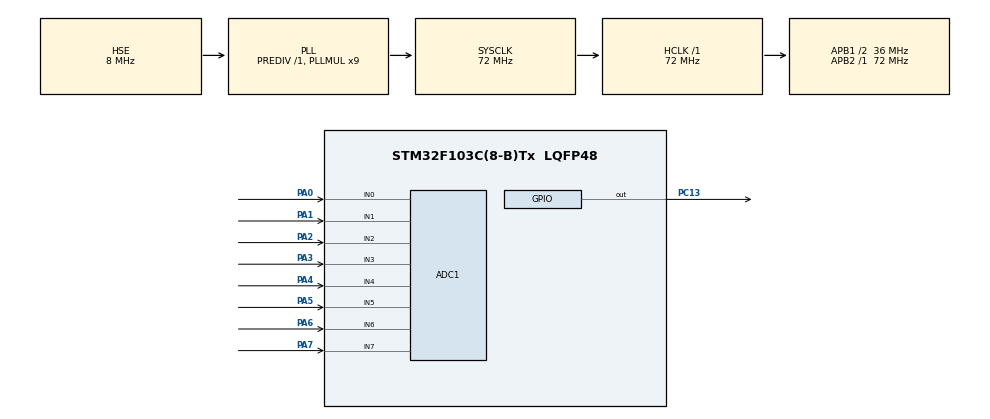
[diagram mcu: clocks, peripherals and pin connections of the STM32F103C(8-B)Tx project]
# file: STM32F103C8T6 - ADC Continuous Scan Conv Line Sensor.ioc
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ADC1.Channel-10\#ChannelRegularConversion=ADC_CHANNEL_6
ADC1.Channel-11\#ChannelRegularConversion=ADC_CHANNEL_7
ADC1.Channel-4\#ChannelRegularConversion=ADC_CHANNEL_0
ADC1.Channel-5\#ChannelRegularConversion=ADC_CHANNEL_1
ADC1.Channel-6\#ChannelRegularConversion=ADC_CHANNEL_2
ADC1.Channel-7\#ChannelRegularConversion=ADC_CHANNEL_3
ADC1.Channel-8\#ChannelRegularConversion=ADC_CHANNEL_4
ADC1.Channel-9\#ChannelRegularConversion=ADC_CHANNEL_5
ADC1.ContinuousConvMode=ENABLE
ADC1.NbrOfConversion=8
ADC1.NbrOfConversionFlag=1
ADC1.Rank-10\#ChannelRegularConversion=7
ADC1.Rank-11\#ChannelRegularConversion=8
ADC1.Rank-4\#ChannelRegularConversion=1
ADC1.Rank-5\#ChannelRegularConversion=2
ADC1.Rank-6\#ChannelRegularConversion=3
ADC1.Rank-7\#ChannelRegularConversion=4
ADC1.Rank-8\#ChannelRegularConversion=5
ADC1.Rank-9\#ChannelRegularConversion=6
ADC1.SamplingTime-10\#ChannelRegularConversion=ADC_SAMPLETIME_239CYCLES_5
ADC1.SamplingTime-11\#ChannelRegularConversion=ADC_SAMPLETIME_239CYCLES_5
ADC1.SamplingTime-4\#ChannelRegularConversion=ADC_SAMPLETIME_239CYCLES_5
ADC1.SamplingTime-5\#ChannelRegularConversion=ADC_SAMPLETIME_239CYCLES_5
ADC1.SamplingTime-6\#ChannelRegularConversion=ADC_SAMPLETIME_239CYCLES_5
ADC1.SamplingTime-7\#ChannelRegularConversion=ADC_SAMPLETIME_239CYCLES_5
ADC1.SamplingTime-8\#ChannelRegularConversion=ADC_SAMPLETIME_239CYCLES_5
ADC1.SamplingTime-9\#ChannelRegularConversion=ADC_SAMPLETIME_239CYCLES_5
ADC1.master=1
Dma.ADC1.0.Direction=DMA_PERIPH_TO_MEMORY
Dma.ADC1.0.Instance=DMA1_Channel1
Dma.ADC1.0.MemDataAlignment=DMA_MDATAALIGN_WORD
Dma.ADC1.0.MemInc=DMA_MINC_ENABLE
Dma.ADC1.0.Mode=DMA_NORMAL
Dma.ADC1.0.PeriphDataAlignment=DMA_PDATAALIGN_WORD
Dma.ADC1.0.PeriphInc=DMA_PINC_DISABLE
Dma.ADC1.0.Priority=DMA_PRIORITY_LOW
Dma.Request0=ADC1
Mcu.Family=STM32F1
Mcu.Name=STM32F103C(8-B)Tx
Mcu.Package=LQFP48
NVIC.DMA1_Channel1_IRQn=true\:0\:0\:false\:false\:true\:false\:true
NVIC.PriorityGroup=NVIC_PRIORITYGROUP_4
PA0-WKUP.Signal=ADCx_IN0
PA1.Signal=ADCx_IN1
PA13.Mode=Serial_Wire
PA13.Signal=SYS_JTMS-SWDIO
PA14.Mode=Serial_Wire
PA14.Signal=SYS_JTCK-SWCLK
PA2.Signal=ADCx_IN2
PA3.Signal=ADCx_IN3
PA4.Signal=ADCx_IN4
PA5.Signal=ADCx_IN5
PA6.Signal=ADCx_IN6
PA7.Signal=ADCx_IN7
PC13-TAMPER-RTC.Signal=GPIO_Output
PC14-OSC32_IN.Mode=LSE-External-Oscillator
PC14-OSC32_IN.Signal=RCC_OSC32_IN
PC15-OSC32_OUT.Mode=LSE-External-Oscillator
PC15-OSC32_OUT.Signal=RCC_OSC32_OUT
PD0-OSC_IN.Mode=HSE-External-Oscillator
PD0-OSC_IN.Signal=RCC_OSC_IN
PD1-OSC_OUT.Mode=HSE-External-Oscillator
PD1-OSC_OUT.Signal=RCC_OSC_OUT
ProjectManager.HeapSize=0x200
ProjectManager.StackSize=0x400
ProjectManager.TargetToolchain=MDK-ARM V5.32
RCC.ADCPresc=RCC_ADCPCLK2_DIV6
RCC.AHBFreq_Value=72000000
RCC.APB1CLKDivider=RCC_HCLK_DIV2
RCC.APB1Freq_Value=36000000
RCC.APB1TimFreq_Value=72000000
RCC.APB2Freq_Value=72000000
RCC.APB2TimFreq_Value=72000000
RCC.HCLKFreq_Value=72000000
RCC.PLLMUL=RCC_PLL_MUL9
RCC.PLLSourceVirtual=RCC_PLLSOURCE_HSE
RCC.SYSCLKFreq_VALUE=72000000
RCC.SYSCLKSource=RCC_SYSCLKSOURCE_PLLCLK
RCC.USBFreq_Value=72000000
SH.ADCx_IN0.0=ADC1_IN0,IN0
SH.ADCx_IN1.0=ADC1_IN1,IN1
SH.ADCx_IN2.0=ADC1_IN2,IN2
SH.ADCx_IN3.0=ADC1_IN3,IN3
SH.ADCx_IN4.0=ADC1_IN4,IN4
SH.ADCx_IN5.0=ADC1_IN5,IN5
SH.ADCx_IN6.0=ADC1_IN6,IN6
SH.ADCx_IN7.0=ADC1_IN7,IN7
board=custom

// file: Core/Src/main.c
/* USER CODE BEGIN Header */
/**
  ******************************************************************************
  * @file           : main.c
  * @brief          : Main program body
  ******************************************************************************
  * @attention
  *
  * Copyright (c) 2023 STMicroelectronics.
  * All rights reserved.
  *
  * This software is licensed under terms that can be found in the LICENSE file
  * in the root directory of this software component.
  * If no LICENSE file comes with this software, it is provided AS-IS.
  *
	*Author		: Parama Diptya Widayaka
	*Email		: diptyawidayaka@gmail.com
	*Purpose	: for educational purpose in programming STM32F103C8T6 to read 8 channels line follower sensor
  ******************************************************************************
  */
/* USER CODE END Header */
#include "main.h"

ADC_HandleTypeDef hadc1;
DMA_HandleTypeDef hdma_adc1;

/* USER CODE BEGIN PV */
uint32_t adc_value[8];
ADC_ChannelConfTypeDef sConfigPrivate = {0};
/* USER CODE END PV */

void SystemClock_Config(void);
static void MX_GPIO_Init(void);
static void MX_ADC1_Init(void);
static void MX_DMA_Init(void);
/* USER CODE BEGIN PFP */
void read_8ch_sensor(void);
/* USER CODE END PFP */

int main(void)
{

  /* MCU Configuration--------------------------------------------------------*/

  /* Reset of all peripherals, Initializes the Flash interface and the Systick. */
  HAL_Init();

  /* Configure the system clock */
  SystemClock_Config();

  /* Initialize all configured peripherals */
  MX_GPIO_Init();
  MX_ADC1_Init();
  MX_DMA_Init();

  /* Infinite loop */
  while (1)
  {

    /* USER CODE BEGIN 3 */
		read_8ch_sensor();
  }
  /* USER CODE END 3 */
}

void SystemClock_Config(void)
{
  RCC_OscInitTypeDef RCC_OscInitStruct = {0};
  RCC_ClkInitTypeDef RCC_ClkInitStruct = {0};
  RCC_PeriphCLKInitTypeDef PeriphClkInit = {0};

  /** Initializes the RCC Oscillators according to the specified parameters
  * in the RCC_OscInitTypeDef structure.
  */
  RCC_OscInitStruct.OscillatorType = RCC_OSCILLATORTYPE_HSE;
  RCC_OscInitStruct.HSEState = RCC_HSE_ON;
  RCC_OscInitStruct.HSEPredivValue = RCC_HSE_PREDIV_DIV1;
  RCC_OscInitStruct.HSIState = RCC_HSI_ON;
  RCC_OscInitStruct.PLL.PLLState = RCC_PLL_ON;
  RCC_OscInitStruct.PLL.PLLSource = RCC_PLLSOURCE_HSE;
  RCC_OscInitStruct.PLL.PLLMUL = RCC_PLL_MUL9;
  if (HAL_RCC_OscConfig(&RCC_OscInitStruct) != HAL_OK)
  {
    Error_Handler();
  }
  /** Initializes the CPU, AHB and APB buses clocks
  */
  RCC_ClkInitStruct.ClockType = RCC_CLOCKTYPE_HCLK|RCC_CLOCKTYPE_SYSCLK
                              |RCC_CLOCKTYPE_PCLK1|RCC_CLOCKTYPE_PCLK2;
  RCC_ClkInitStruct.SYSCLKSource = RCC_SYSCLKSOURCE_PLLCLK;
  RCC_ClkInitStruct.AHBCLKDivider = RCC_SYSCLK_DIV1;
  RCC_ClkInitStruct.APB1CLKDivider = RCC_HCLK_DIV2;
  RCC_ClkInitStruct.APB2CLKDivider = RCC_HCLK_DIV1;

  if (HAL_RCC_ClockConfig(&RCC_ClkInitStruct, FLASH_LATENCY_2) != HAL_OK)
  {
    Error_Handler();
  }
  PeriphClkInit.PeriphClockSelection = RCC_PERIPHCLK_ADC;
  PeriphClkInit.AdcClockSelection = RCC_ADCPCLK2_DIV6;
  if (HAL_RCCEx_PeriphCLKConfig(&PeriphClkInit) != HAL_OK)
  {
    Error_Handler();
  }
}

static void MX_ADC1_Init(void)
{

  ADC_ChannelConfTypeDef sConfig = {0};

  /** Common config
  */
  hadc1.Instance = ADC1;
  hadc1.Init.ScanConvMode = ADC_SCAN_ENABLE;
  hadc1.Init.ContinuousConvMode = ENABLE;
  hadc1.Init.DiscontinuousConvMode = DISABLE;
  hadc1.Init.ExternalTrigConv = ADC_SOFTWARE_START;
  hadc1.Init.DataAlign = ADC_DATAALIGN_RIGHT;
  hadc1.Init.NbrOfConversion = 8;
  if (HAL_ADC_Init(&hadc1) != HAL_OK)
  {
    Error_Handler();
  }
  /** Configure Regular Channel
  */
  sConfig.Channel = ADC_CHANNEL_0;
  sConfig.Rank = ADC_REGULAR_RANK_1;
  sConfig.SamplingTime = ADC_SAMPLETIME_239CYCLES_5;
  if (HAL_ADC_ConfigChannel(&hadc1, &sConfig) != HAL_OK)
  {
    Error_Handler();
  }
  /** Configure Regular Channel
  */
  sConfig.Channel = ADC_CHANNEL_1;
  sConfig.Rank = ADC_REGULAR_RANK_2;
  if (HAL_ADC_ConfigChannel(&hadc1, &sConfig) != HAL_OK)
  {
    Error_Handler();
  }
  /** Configure Regular Channel
  */
  sConfig.Channel = ADC_CHANNEL_2;
  sConfig.Rank = ADC_REGULAR_RANK_3;
  if (HAL_ADC_ConfigChannel(&hadc1, &sConfig) != HAL_OK)
  {
    Error_Handler();
  }
  /** Configure Regular Channel
  */
  sConfig.Channel = ADC_CHANNEL_3;
  sConfig.Rank = ADC_REGULAR_RANK_4;
  if (HAL_ADC_ConfigChannel(&hadc1, &sConfig) != HAL_OK)
  {
    Error_Handler();
  }
  /** Configure Regular Channel
  */
  sConfig.Channel = ADC_CHANNEL_4;
  sConfig.Rank = ADC_REGULAR_RANK_5;
  if (HAL_ADC_ConfigChannel(&hadc1, &sConfig) != HAL_OK)
  {
    Error_Handler();
  }
  /** Configure Regular Channel
  */
  sConfig.Channel = ADC_CHANNEL_5;
  sConfig.Rank = ADC_REGULAR_RANK_6;
  if (HAL_ADC_ConfigChannel(&hadc1, &sConfig) != HAL_OK)
  {
    Error_Handler();
  }
  /** Configure Regular Channel
  */
  sConfig.Channel = ADC_CHANNEL_6;
  sConfig.Rank = ADC_REGULAR_RANK_7;
  if (HAL_ADC_ConfigChannel(&hadc1, &sConfig) != HAL_OK)
  {
    Error_Handler();
  }
  /** Configure Regular Channel
  */
  sConfig.Channel = ADC_CHANNEL_7;
  sConfig.Rank = ADC_REGULAR_RANK_8;
  if (HAL_ADC_ConfigChannel(&hadc1, &sConfig) != HAL_OK)
  {
    Error_Handler();
  }

}

static void MX_DMA_Init(void)
{

  /* DMA controller clock enable */
  __HAL_RCC_DMA1_CLK_ENABLE();

  /* DMA interrupt init */
  /* DMA1_Channel1_IRQn interrupt configuration */
  HAL_NVIC_SetPriority(DMA1_Channel1_IRQn, 0, 0);
  HAL_NVIC_EnableIRQ(DMA1_Channel1_IRQn);

}

static void MX_GPIO_Init(void)
{
  GPIO_InitTypeDef GPIO_InitStruct = {0};

  /* GPIO Ports Clock Enable */
  __HAL_RCC_GPIOC_CLK_ENABLE();
  __HAL_RCC_GPIOD_CLK_ENABLE();
  __HAL_RCC_GPIOA_CLK_ENABLE();

  /*Configure GPIO pin Output Level */
  HAL_GPIO_WritePin(GPIOC, GPIO_PIN_13, GPIO_PIN_RESET);

  /*Configure GPIO pin : PC13 */
  GPIO_InitStruct.Pin = GPIO_PIN_13;
  GPIO_InitStruct.Mode = GPIO_MODE_OUTPUT_PP;
  GPIO_InitStruct.Pull = GPIO_NOPULL;
  GPIO_InitStruct.Speed = GPIO_SPEED_FREQ_LOW;
  HAL_GPIO_Init(GPIOC, &GPIO_InitStruct);

}

/* USER CODE BEGIN 4 */
void read_8ch_sensor(){
		sConfigPrivate.SamplingTime = ADC_SAMPLETIME_239CYCLES_5;
		sConfigPrivate.Rank = ADC_REGULAR_RANK_1;

		//read sensor 0
		sConfigPrivate.Channel = ADC_CHANNEL_0;
		HAL_ADC_ConfigChannel(&hadc1, &sConfigPrivate);
		HAL_ADC_Start(&hadc1);
		HAL_ADC_PollForConversion(&hadc1, 5);
		adc_value[0] = HAL_ADC_GetValue(&hadc1)/16;
		HAL_ADC_Stop(&hadc1);

		//read sensor 1
		sConfigPrivate.Channel = ADC_CHANNEL_1;
		HAL_ADC_ConfigChannel(&hadc1, &sConfigPrivate);
		HAL_ADC_Start(&hadc1);
		HAL_ADC_PollForConversion(&hadc1, 5);
		adc_value[1] = HAL_ADC_GetValue(&hadc1)/16;
		HAL_ADC_Stop(&hadc1);

		//read sensor 2
		sConfigPrivate.Channel = ADC_CHANNEL_2;
		HAL_ADC_ConfigChannel(&hadc1, &sConfigPrivate);
		HAL_ADC_Start(&hadc1);
		HAL_ADC_PollForConversion(&hadc1, 5);
		adc_value[2] = HAL_ADC_GetValue(&hadc1)/16;
		HAL_ADC_Stop(&hadc1);

		//read sensor 3
		sConfigPrivate.Channel = ADC_CHANNEL_3;
		HAL_ADC_ConfigChannel(&hadc1, &sConfigPrivate);
		HAL_ADC_Start(&hadc1);
		HAL_ADC_PollForConversion(&hadc1, 5);
		adc_value[3] = HAL_ADC_GetValue(&hadc1)/16;
		HAL_ADC_Stop(&hadc1);

		//read sensor 4
		sConfigPrivate.Channel = ADC_CHANNEL_4;
		HAL_ADC_ConfigChannel(&hadc1, &sConfigPrivate);
		HAL_ADC_Start(&hadc1);
		HAL_ADC_PollForConversion(&hadc1, 5);
		adc_value[4] = HAL_ADC_GetValue(&hadc1)/16;
		HAL_ADC_Stop(&hadc1);

		//read sensor 5
		sConfigPrivate.Channel = ADC_CHANNEL_5;
		HAL_ADC_ConfigChannel(&hadc1, &sConfigPrivate);
		HAL_ADC_Start(&hadc1);
		HAL_ADC_PollForConversion(&hadc1, 5);
		adc_value[5] = HAL_ADC_GetValue(&hadc1)/16;
		HAL_ADC_Stop(&hadc1);

		//read sensor 6
		sConfigPrivate.Channel = ADC_CHANNEL_6;
		HAL_ADC_ConfigChannel(&hadc1, &sConfigPrivate);
		HAL_ADC_Start(&hadc1);
		HAL_ADC_PollForConversion(&hadc1, 5);
		adc_value[6] = HAL_ADC_GetValue(&hadc1)/16;
		HAL_ADC_Stop(&hadc1);

		//read sensor 7
		sConfigPrivate.Channel = ADC_CHANNEL_7;
		HAL_ADC_ConfigChannel(&hadc1, &sConfigPrivate);
		HAL_ADC_Start(&hadc1);
		HAL_ADC_PollForConversion(&hadc1, 5);
		adc_value[7] = HAL_ADC_GetValue(&hadc1)/16;
		HAL_ADC_Stop(&hadc1);
}
/* USER CODE END 4 */

void Error_Handler(void)
{
  __disable_irq();
  while (1)
  {
  }
}
